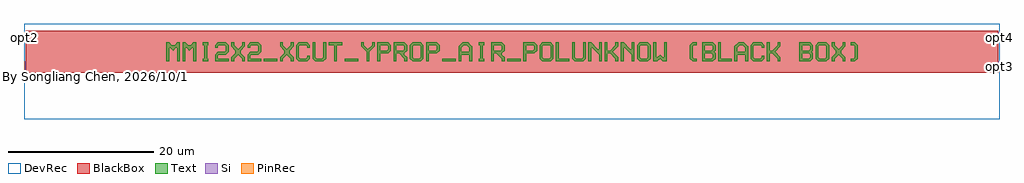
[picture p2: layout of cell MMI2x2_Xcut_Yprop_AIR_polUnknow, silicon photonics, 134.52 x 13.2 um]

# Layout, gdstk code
import gdstk
lib = gdstk.Library(unit=1e-6, precision=1e-10)
def R(c, l, rs):  # rectangles x0, y0, x1, y1
    for r in rs: c.add(gdstk.rectangle(r[:2], r[2:], *l))
def P(c, l, *ps):  # polygons
    for p in ps: c.add(gdstk.Polygon(p, *l))
Si = (1, 0)
PinRec = (1, 10)
Text = (10, 0)
DevRec = (68, 0)
BlackBox = (998, 0)

text_4 = lib.new_cell('TEXT$4')
R(text_4, Text, [(13.422,0,15.286,0.373), (24.607,0,26.471,0.373), (38.029,0,39.893,0.373), (46.977,0,48.841,0.373)])
P(text_4, Text, [(0,0),(0,2.61),(0.373,2.61),(0.746,2.237),(1.119,2.237),(1.491,2.61),(1.864,2.61),(1.864,0),(1.491,0),(1.491,1.864),(1.305,1.864),(0.932,1.491),(0.559,1.864),(0.373,1.864),(0.373,0)],
  [(2.237,0),(2.237,2.61),(2.61,2.61),(2.983,2.237),(3.356,2.237),(3.728,2.61),(4.101,2.61),(4.101,0),(3.728,0),(3.728,1.864),(3.542,1.864),(3.169,1.491),(2.796,1.864),(2.61,1.864),(2.61,0)],
  [(5.033,0),(5.033,0.373),(5.22,0.373),(5.22,2.237),(5.033,2.237),(5.033,2.61),(5.779,2.61),(5.779,2.237),(5.593,2.237),(5.593,0.373),(5.779,0.373),(5.779,0)],
  [(6.711,0),(6.711,0.932),(7.084,1.305),(8.016,1.305),(8.202,1.491),(8.202,2.051),(8.016,2.237),(7.27,2.237),(7.084,2.051),(7.084,1.864),(6.711,1.864),(6.711,2.237),(7.084,2.61),(8.202,2.61),(8.575,2.237),(8.575,1.305),(8.202,0.932),(7.27,0.932),(7.084,0.746),(7.084,0.373),(8.575,0.373),(8.575,0)],
  [(8.948,0),(8.948,0.559),(9.507,1.119),(9.507,1.491),(8.948,2.051),(8.948,2.61),(9.321,2.61),(9.321,2.237),(9.88,1.678),(10.439,2.237),(10.439,2.61),(10.812,2.61),(10.812,2.051),(10.253,1.491),(10.253,1.119),(10.812,0.559),(10.812,0),(10.439,0),(10.439,0.373),(9.88,0.932),(9.321,0.373),(9.321,0)],
  [(11.185,0),(11.185,0.932),(11.558,1.305),(12.49,1.305),(12.676,1.491),(12.676,2.051),(12.49,2.237),(11.744,2.237),(11.558,2.051),(11.558,1.864),(11.185,1.864),(11.185,2.237),(11.558,2.61),(12.676,2.61),(13.049,2.237),(13.049,1.305),(12.676,0.932),(11.744,0.932),(11.558,0.746),(11.558,0.373),(13.049,0.373),(13.049,0)],
  [(15.659,0),(15.659,0.559),(16.218,1.119),(16.218,1.491),(15.659,2.051),(15.659,2.61),(16.032,2.61),(16.032,2.237),(16.591,1.678),(17.15,2.237),(17.15,2.61),(17.523,2.61),(17.523,2.051),(16.964,1.491),(16.964,1.119),(17.523,0.559),(17.523,0),(17.15,0),(17.15,0.373),(16.591,0.932),(16.032,0.373),(16.032,0)],
  [(18.269,0),(17.896,0.373),(17.896,2.237),(18.269,2.61),(19.387,2.61),(19.76,2.237),(19.76,1.864),(19.387,1.864),(19.387,2.051),(19.201,2.237),(18.455,2.237),(18.269,2.051),(18.269,0.559),(18.455,0.373),(19.201,0.373),(19.387,0.559),(19.387,0.746),(19.76,0.746),(19.76,0.373),(19.387,0)],
  [(20.506,0),(20.133,0.373),(20.133,2.61),(20.506,2.61),(20.506,0.559),(20.692,0.373),(21.438,0.373),(21.624,0.559),(21.624,2.61),(21.997,2.61),(21.997,0.373),(21.624,0)],
  [(23.116,0),(23.116,2.237),(22.37,2.237),(22.37,2.61),(24.234,2.61),(24.234,2.237),(23.489,2.237),(23.489,0)],
  [(27.59,0),(27.59,1.305),(26.844,2.051),(26.844,2.61),(27.217,2.61),(27.217,2.237),(27.776,1.678),(28.335,2.237),(28.335,2.61),(28.708,2.61),(28.708,2.051),(27.963,1.305),(27.963,0)],
  [(29.081,0),(29.081,2.61),(30.572,2.61),(30.945,2.237),(30.945,1.491),(30.572,1.119),(29.454,1.119),(29.454,1.491),(30.386,1.491),(30.572,1.678),(30.572,2.051),(30.386,2.237),(29.454,2.237),(29.454,0)],
  [(31.318,0),(31.318,2.61),(32.809,2.61),(33.182,2.237),(31.691,2.237),(31.691,1.491),(32.623,1.491),(32.809,1.678),(32.809,2.051),(32.623,2.237),(33.182,2.237),(33.182,1.491),(32.809,1.119),(32.809,0.932),(33.182,0.559),(33.182,0),(32.809,0),(32.809,0.373),(32.064,1.119),(31.691,1.119),(31.691,0)],
  [(33.928,0),(33.555,0.373),(33.555,2.237),(33.928,2.61),(35.046,2.61),(35.419,2.237),(35.419,1.305),(35.046,1.305),(35.046,2.051),(34.86,2.237),(34.114,2.237),(33.928,2.051),(33.928,0.559),(34.114,0.373),(34.86,0.373),(35.046,0.559),(35.046,1.305),(35.419,1.305),(35.419,0.373),(35.046,0)],
  [(35.792,0),(35.792,2.61),(37.283,2.61),(37.656,2.237),(37.656,1.491),(37.283,1.119),(36.165,1.119),(36.165,1.491),(37.097,1.491),(37.283,1.678),(37.283,2.051),(37.097,2.237),(36.165,2.237),(36.165,0)],
  [(40.266,0),(40.266,2.051),(40.825,2.61),(41.571,2.61),(41.944,2.237),(41.012,2.237),(40.639,1.864),(40.639,1.305),(41.757,1.305),(41.757,1.864),(41.385,2.237),(41.944,2.237),(42.13,2.051),(42.13,0),(41.757,0),(41.757,0.932),(40.639,0.932),(40.639,0)],
  [(43.062,0),(43.062,0.373),(43.249,0.373),(43.249,2.237),(43.062,2.237),(43.062,2.61),(43.808,2.61),(43.808,2.237),(43.622,2.237),(43.622,0.373),(43.808,0.373),(43.808,0)],
  [(44.74,0),(44.74,2.61),(46.231,2.61),(46.604,2.237),(45.113,2.237),(45.113,1.491),(46.045,1.491),(46.231,1.678),(46.231,2.051),(46.045,2.237),(46.604,2.237),(46.604,1.491),(46.231,1.119),(46.231,0.932),(46.604,0.559),(46.604,0),(46.231,0),(46.231,0.373),(45.486,1.119),(45.113,1.119),(45.113,0)],
  [(49.214,0),(49.214,2.61),(50.705,2.61),(51.078,2.237),(51.078,1.491),(50.705,1.119),(49.587,1.119),(49.587,1.491),(50.519,1.491),(50.705,1.678),(50.705,2.051),(50.519,2.237),(49.587,2.237),(49.587,0)],
  [(51.824,0),(51.451,0.373),(51.451,2.237),(51.824,2.61),(52.942,2.61),(53.315,2.237),(53.315,1.305),(52.942,1.305),(52.942,2.051),(52.756,2.237),(52.01,2.237),(51.824,2.051),(51.824,0.559),(52.01,0.373),(52.756,0.373),(52.942,0.559),(52.942,1.305),(53.315,1.305),(53.315,0.373),(52.942,0)],
  [(53.688,0),(53.688,2.61),(54.061,2.61),(54.061,0.373),(55.552,0.373),(55.552,0)],
  [(56.298,0),(55.925,0.373),(55.925,2.61),(56.298,2.61),(56.298,0.559),(56.484,0.373),(57.23,0.373),(57.416,0.559),(57.416,2.61),(57.789,2.61),(57.789,0.373),(57.416,0)],
  [(58.162,0),(58.162,2.61),(58.535,2.61),(59.467,1.678),(59.653,1.678),(59.653,2.61),(60.026,2.61),(60.026,0),(59.653,0),(59.653,0.932),(58.721,1.864),(58.535,1.864),(58.535,0)],
  [(60.399,0),(60.399,2.61),(60.772,2.61),(60.772,1.491),(61.145,1.491),(61.89,2.237),(61.89,2.61),(62.263,2.61),(62.263,2.051),(61.518,1.305),(62.263,0.559),(62.263,0),(61.89,0),(61.89,0.373),(61.145,1.119),(60.772,1.119),(60.772,0)],
  [(62.636,0),(62.636,2.61),(63.009,2.61),(63.941,1.678),(64.127,1.678),(64.127,2.61),(64.5,2.61),(64.5,0),(64.127,0),(64.127,0.932),(63.195,1.864),(63.009,1.864),(63.009,0)],
  [(65.246,0),(64.873,0.373),(64.873,2.237),(65.246,2.61),(66.364,2.61),(66.737,2.237),(66.737,1.305),(66.364,1.305),(66.364,2.051),(66.178,2.237),(65.432,2.237),(65.246,2.051),(65.246,0.559),(65.432,0.373),(66.178,0.373),(66.364,0.559),(66.364,1.305),(66.737,1.305),(66.737,0.373),(66.364,0)],
  [(67.11,0),(67.11,2.61),(67.483,2.61),(67.483,0.559),(67.669,0.559),(68.042,0.932),(68.415,0.559),(68.601,0.559),(68.601,2.61),(68.974,2.61),(68.974,0),(68.415,0),(68.042,0.373),(67.669,0)],
  [(72.516,0),(72.143,0.373),(72.143,2.237),(72.516,2.61),(73.075,2.61),(73.075,2.237),(72.703,2.237),(72.516,2.051),(72.516,0.559),(72.703,0.373),(73.075,0.373),(73.075,0)],
  [(73.821,0),(73.821,2.61),(75.312,2.61),(75.685,2.237),(74.194,2.237),(74.194,1.491),(75.126,1.491),(75.312,1.678),(75.312,2.051),(75.126,2.237),(75.685,2.237),(75.685,1.491),(75.499,1.305),(75.685,1.119),(74.194,1.119),(74.194,0.373),(75.126,0.373),(75.312,0.559),(75.312,0.932),(75.126,1.119),(75.685,1.119),(75.685,0.373),(75.312,0)],
  [(76.058,0),(76.058,2.61),(76.431,2.61),(76.431,0.373),(77.922,0.373),(77.922,0)],
  [(78.295,0),(78.295,2.051),(78.854,2.61),(79.6,2.61),(79.973,2.237),(79.041,2.237),(78.668,1.864),(78.668,1.305),(79.786,1.305),(79.786,1.864),(79.414,2.237),(79.973,2.237),(80.159,2.051),(80.159,0),(79.786,0),(79.786,0.932),(78.668,0.932),(78.668,0)],
  [(80.905,0),(80.532,0.373),(80.532,2.237),(80.905,2.61),(82.023,2.61),(82.396,2.237),(82.396,1.864),(82.023,1.864),(82.023,2.051),(81.837,2.237),(81.091,2.237),(80.905,2.051),(80.905,0.559),(81.091,0.373),(81.837,0.373),(82.023,0.559),(82.023,0.746),(82.396,0.746),(82.396,0.373),(82.023,0)],
  [(82.769,0),(82.769,2.61),(83.142,2.61),(83.142,1.491),(83.515,1.491),(84.26,2.237),(84.26,2.61),(84.633,2.61),(84.633,2.051),(83.888,1.305),(84.633,0.559),(84.633,0),(84.26,0),(84.26,0.373),(83.515,1.119),(83.142,1.119),(83.142,0)],
  [(87.243,0),(87.243,2.61),(88.734,2.61),(89.107,2.237),(87.616,2.237),(87.616,1.491),(88.548,1.491),(88.734,1.678),(88.734,2.051),(88.548,2.237),(89.107,2.237),(89.107,1.491),(88.921,1.305),(89.107,1.119),(87.616,1.119),(87.616,0.373),(88.548,0.373),(88.734,0.559),(88.734,0.932),(88.548,1.119),(89.107,1.119),(89.107,0.373),(88.734,0)],
  [(89.853,0),(89.48,0.373),(89.48,2.237),(89.853,2.61),(90.971,2.61),(91.344,2.237),(91.344,1.305),(90.971,1.305),(90.971,2.051),(90.785,2.237),(90.039,2.237),(89.853,2.051),(89.853,0.559),(90.039,0.373),(90.785,0.373),(90.971,0.559),(90.971,1.305),(91.344,1.305),(91.344,0.373),(90.971,0)],
  [(91.717,0),(91.717,0.559),(92.276,1.119),(92.276,1.491),(91.717,2.051),(91.717,2.61),(92.09,2.61),(92.09,2.237),(92.649,1.678),(93.208,2.237),(93.208,2.61),(93.581,2.61),(93.581,2.051),(93.022,1.491),(93.022,1.119),(93.581,0.559),(93.581,0),(93.208,0),(93.208,0.373),(92.649,0.932),(92.09,0.373),(92.09,0)],
  [(94.327,0),(94.327,0.373),(94.7,0.373),(94.886,0.559),(94.886,2.051),(94.7,2.237),(94.327,2.237),(94.327,2.61),(94.886,2.61),(95.259,2.237),(95.259,0.373),(94.886,0)])

mmi2x2_xcut_yprop_air_po = lib.new_cell('MMI2x2_Xcut_Yprop_AIR_polUnknow')
R(mmi2x2_xcut_yprop_air_po, Si, [(-67.25,-2.7,-67.05,-1.3), (67.05,-2.7,67.25,-1.3), (-67.25,1.3,-67.05,2.7), (67.05,1.3,67.25,2.7)])
R(mmi2x2_xcut_yprop_air_po, DevRec, [(-67.25,-9.3,67.25,3.9)])
R(mmi2x2_xcut_yprop_air_po, BlackBox, [(-67.05,-2.9,67.05,2.9)])
mmi2x2_xcut_yprop_air_po.add(gdstk.FlexPath([(-67.24,-2),(-67.26,-2)], 1.4, ends="flush", simple_path=True, layer=1, datatype=10))  # PinRec
mmi2x2_xcut_yprop_air_po.add(gdstk.FlexPath([(-67.24,2),(-67.26,2)], 1.4, ends="flush", simple_path=True, layer=1, datatype=10))  # PinRec
mmi2x2_xcut_yprop_air_po.add(gdstk.FlexPath([(67.24,-2),(67.26,-2)], 1.4, ends="flush", simple_path=True, layer=1, datatype=10))  # PinRec
mmi2x2_xcut_yprop_air_po.add(gdstk.FlexPath([(67.24,2),(67.26,2)], 1.4, ends="flush", simple_path=True, layer=1, datatype=10))  # PinRec
mmi2x2_xcut_yprop_air_po.add(gdstk.Reference(text_4, (-47.6295,-1.305)))
mmi2x2_xcut_yprop_air_po.add(gdstk.Label('By Songliang Chen, 2026/10/13', (-66.75,-3.4), layer=10, texttype=0))
mmi2x2_xcut_yprop_air_po.add(gdstk.Label('opt1', (-67.25,-2), layer=1, texttype=10))
mmi2x2_xcut_yprop_air_po.add(gdstk.Label('opt2', (-67.25,2), layer=1, texttype=10))
mmi2x2_xcut_yprop_air_po.add(gdstk.Label('opt3', (67.25,-2), layer=1, texttype=10))
mmi2x2_xcut_yprop_air_po.add(gdstk.Label('opt4', (67.25,2), layer=1, texttype=10))

lib.write_gds('MMI2x2_Xcut_Yprop_AIR_polUnknow.gds')
